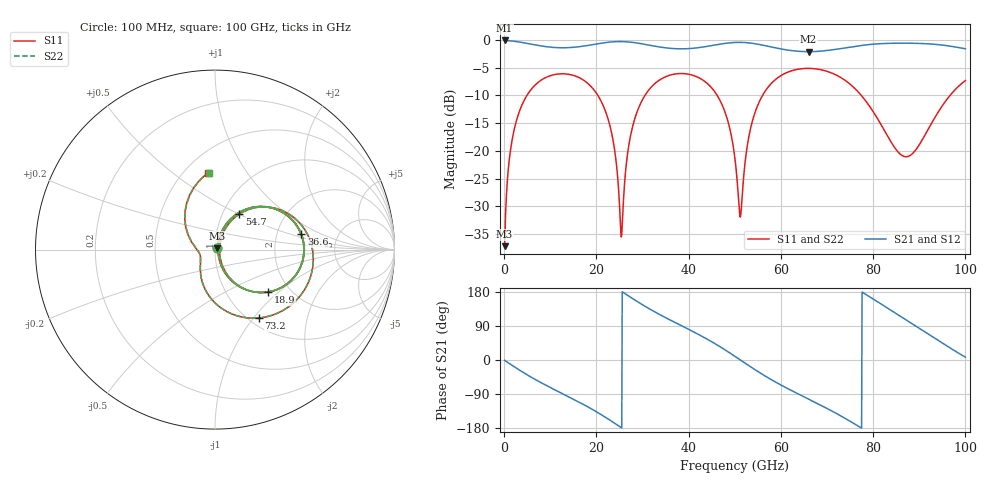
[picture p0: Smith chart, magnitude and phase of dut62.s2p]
! Touchstone file exported from HFSS 2026.1.0
!  File:  C:/ffzhzh/LocalFiles/Ansys_Project_Files/temp_train_TSV_RDL_62_1783624424_26216.aedt
!  Generated:  03:21:15 AM Jul 10, 2026
!  Design:  TSV_RDL
!  Project:  temp_train_TSV_RDL_62_1783624424_26216
! Variables:
!  h_bsmrdl = 2.42um
!  h_ox = 20um
!  h_rdl = 5um
!  h_sub = 63.8um
!  h_tmrdl = 3.61um
!  h_tsv = 63.8um
!  h_via = 3um
!  l_bsmrdl = 353.54um
!  l_sub = 2434.84um
!  l_tmrdl = 205.5um
!  m_sub = 200um
!  pitch = 51.59um
!  r_tsv = 8.78um
!  s_tmrdl = 10um
!  w_bsmrdl = 23.34um
!  w_sub = 500um
!  w_tmrdl = 27.4um
!  x_tsv_center1 = 219.2um
!  x_tsv_center2 = 596.08um
!  x_tsv_center3 = 828.98um
!  x_tsv_center4 = 1205.86um
!  x_tsv_center5 = 1438.76um
!  x_tsv_center6 = 1815.64um
# GHz S MA R 50.000000
! Terminal data exported
! Port[1] = TM_RDL1_1_T1
! Port[2] = TM_RDL5_1_T1
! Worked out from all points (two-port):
!   1000 points, 100 MHz to 100 GHz, reference 50 ohm
!   highest |S21| = -0.10 dB at 100 MHz (marker M1); lowest = -2.1 dB at 66 GHz (marker M2)
!   |S21| within 3 dB of the highest: start of sweep to end of sweep
!   lowest |S11| = -37.2 dB at 100 MHz (marker M3), VSWR 1.03, Z = 51.1 + j0.81 ohm
!   |S11| at or under -10 dB: 20.31 GHz to 30.53 GHz (10.22 GHz wide, 40.2 % of centre); 46.18 GHz to 56.03 GHz (9.849 GHz wide, 19.3 % of centre); 77.42 GHz to 96.68 GHz (19.26 GHz wide, 22.1 % of centre) (the widest 3 of 4)
!   |S22| runs from -37.2 to -5.1 dB; largest |S21 - S12| = 1.7e-14
!   S11 on the Smith chart (normalised r, x): 100 MHz: 1.02, +0.02; 18.9 GHz: 1.55, -0.85; 36.6 GHz: 2.74, +0.64; 54.7 GHz: 1.20, +0.50; 73.2 GHz: 1.11, -1.06; 100 GHz: 0.65, +0.68
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0.1  0.01382 34.9  0.9888 -0.9  0.9888 -0.9  0.01382 34.9
! Gamma 0 0 0 0
! Port Impedance 50 0 50 0
1.6  0.1167 69.4  0.9781 -13.1  0.9781 -13.1  0.1167 69.5
4.4  0.2885 51.8  0.94 -34.8  0.94 -34.8  0.2885 51.8
11  0.4876 9.6  0.8538 -78.7  0.8538 -78.7  0.4876 9.6
16.8  0.4444 -25.2  0.8743 -114.7  0.8743 -114.7  0.4444 -25.2
18.9  0.3778 -38.6  0.9021 -128.8  0.9021 -128.8  0.3778 -38.6
23.1  0.1577 -65.7  0.9573 -160.0  0.9573 -160.0  0.1577 -65.6
25.4  0.01673 -2.7  0.9662 -178.4  0.9662 -178.4  0.0169 -2.7
28.1  0.1811 63.9  0.947 160.1  0.947 160.1  0.1811 63.8
33.4  0.4269 29.8  0.8671 122.0  0.8671 122.0  0.4269 29.7
36.6  0.4888 10.4  0.8359 101.8  0.8359 101.8  0.4888 10.4
45.7  0.3389 -44.7  0.8992 43.2  0.8992 43.2  0.3389 -44.7
50.1  0.08087 -64.0  0.9488 9.1  0.9488 9.1  0.08084 -64.1
51.3  0.02655 16.2  0.9503 -0.7  0.9503 -0.7  0.02637 16.2
54.7  0.2404 55.5  0.9193 -28.1  0.9193 -28.1  0.2404 55.6
66  0.5537 -13.7  0.7836 -103.1  0.7836 -103.1  0.5536 -13.7
66.7  0.5524 -17.8  0.7843 -107.4  0.7843 -107.4  0.5523 -17.7
73.2  0.452 -57.5  0.8385 -149.0  0.8385 -149.0  0.4519 -57.5
78.5  0.2778 -93.7  0.9026 172.5  0.9026 172.5  0.2776 -93.9
83.4  0.1299 -128.9  0.9312 134.8  0.9312 134.8  0.1296 -129.5
90.9  0.1311 164.3  0.9267 76.7  0.9267 76.7  0.1312 163.3
100  0.4296 95.0  0.832 7.4  0.832 7.4  0.4299 94.6
